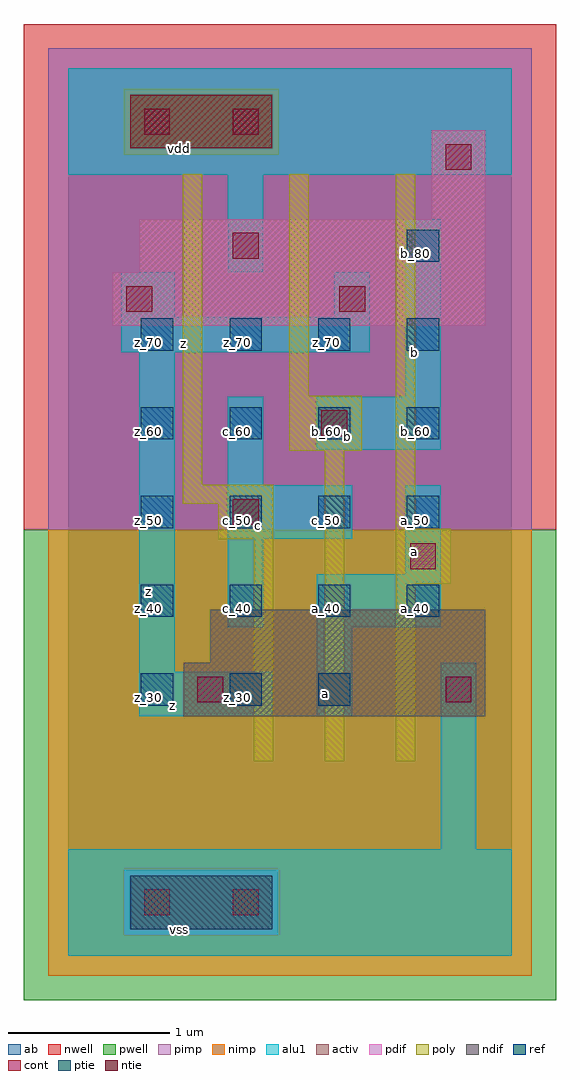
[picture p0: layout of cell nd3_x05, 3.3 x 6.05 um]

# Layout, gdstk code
import gdstk
lib = gdstk.Library(unit=1e-6, precision=2.5e-09)
def R(c, l, rs):  # rectangles x0, y0, x1, y1
    for r in rs: c.add(gdstk.rectangle(r[:2], r[2:], *l))
def A(c, l, x, y, w, h, nx, ny, dx, dy):  # array of equal rectangles
    R(c, l, [(x+i*dx, y+j*dy, x+i*dx+w, y+j*dy+h) for i in range(nx) for j in range(ny)])
ndif = (3, 0)
pdif = (4, 0)
ntie = (5, 0)
ptie = (6, 0)
ref = (24, 0)
cont = (25, 0)
pwell = (41, 0)
nwell = (42, 0)
activ = (43, 0)
pimp = (44, 0)
nimp = (45, 0)
poly = (46, 0)
alu1 = (49, 0)
ab = (63, 0)

nd3_x05 = lib.new_cell('nd3_x05')
R(nd3_x05, ndif, [(0.715,1.485,2.585,1.815), (0.88,1.815,2.585,2.145)])
R(nd3_x05, pdif, [(0.275,3.905,2.585,4.235), (0.44,4.235,2.585,4.565), (2.255,4.565,2.585,5.115)])
R(nd3_x05, ntie, [(0.385,5.005,1.265,5.335)])
R(nd3_x05, ptie, [(0.385,0.165,1.265,0.495)])
A(nd3_x05, ref, 0.45, 1.55, 0.2, 0.2, 3, 1, 0.55, 0)
A(nd3_x05, ref, 0.45, 2.1, 0.2, 0.2, 4, 4, 0.55, 0.55)
R(nd3_x05, ref, [(2.1,4.3,2.3,4.5)])
R(nd3_x05, cont, [(0.47,0.25,0.63,0.41), (1.02,0.25,1.18,0.41), (0.8,1.57,0.96,1.73), (2.34,1.57,2.5,1.73), (2.12,2.395,2.28,2.555), (1.02,2.67,1.18,2.83), (1.57,3.22,1.73,3.38), (0.36,3.99,0.52,4.15), (1.68,3.99,1.84,4.15), (1.02,4.32,1.18,4.48), (2.34,4.87,2.5,5.03), (0.47,5.09,0.63,5.25), (1.02,5.09,1.18,5.25)])
R(nd3_x05, pwell, [(-0.275,-0.275,3.025,2.64)])
R(nd3_x05, nwell, [(-0.275,2.64,3.025,5.775)])
R(nd3_x05, activ, [(0.385,0.165,1.265,0.495), (0.715,1.485,2.585,1.815), (0.88,1.815,2.585,2.145), (0.275,3.905,2.585,4.235), (0.44,4.235,2.585,4.565), (2.255,4.565,2.585,5.115), (0.385,5.005,1.265,5.335)])
R(nd3_x05, pimp, [(0.345,0.125,1.305,0.535), (-0.125,2.64,2.875,4.965), (-0.125,4.965,0.345,5.375), (1.305,4.965,2.875,5.375), (-0.125,5.375,2.875,5.625)])
R(nd3_x05, nimp, [(-0.125,-0.125,2.875,0.125), (-0.125,0.125,0.345,0.535), (1.305,0.125,2.875,0.535), (-0.125,0.535,2.875,2.64), (0.345,4.965,1.305,5.375)])
R(nd3_x05, poly, [(1.15,1.205,1.27,2.58), (1.59,1.205,1.71,3.13), (2.03,1.205,2.15,2.305), (2.03,2.305,2.37,2.645), (0.93,2.58,1.27,2.8), (2.03,2.645,2.15,4.845), (0.71,2.8,1.27,2.92), (0.71,2.92,0.83,4.845), (1.37,3.13,1.82,3.47), (1.37,3.47,1.49,4.845)])
R(nd3_x05, alu1, [(0,0,2.75,0.66), (2.31,0.66,2.53,1.815), (0.44,1.485,1.265,1.76), (1.54,1.485,1.76,2.035), (0.44,1.76,0.66,3.74), (0.99,2.035,1.21,2.585), (1.54,2.035,2.31,2.365), (2.09,2.365,2.31,2.915), (0.99,2.585,1.76,2.915), (0.99,2.915,1.21,3.465), (1.54,3.135,2.31,3.465), (2.09,3.465,2.31,4.565), (0.33,3.74,1.87,3.96), (0.33,3.96,0.66,4.235), (1.65,3.96,1.87,4.235), (0.99,4.235,1.21,4.84), (0,4.84,2.75,5.5)])
R(nd3_x05, ab, [(0,0,2.75,5.5)])
nd3_x05.add(gdstk.Label('vss', (0.6875,0.165), layer=49, texttype=0))
nd3_x05.add(gdstk.Label('a', (1.595,1.6225), layer=49, texttype=0))
nd3_x05.add(gdstk.Label('z', (0.645,1.5525), layer=49, texttype=0))
nd3_x05.add(gdstk.Label('a', (2.145,2.5025), layer=49, texttype=0))
nd3_x05.add(gdstk.Label('c', (1.1825,2.6675), layer=49, texttype=0))
nd3_x05.add(gdstk.Label('b', (1.7325,3.2175), layer=49, texttype=0))
nd3_x05.add(gdstk.Label('b', (2.145,3.74), layer=49, texttype=0))
nd3_x05.add(gdstk.Label('z', (0.495,2.255), layer=49, texttype=0))
nd3_x05.add(gdstk.Label('z', (0.715,3.795), layer=49, texttype=0))
nd3_x05.add(gdstk.Label('vdd', (0.6875,5.005), layer=49, texttype=0))
nd3_x05.add(gdstk.Label('b_80', (2.15,4.35), layer=24, texttype=0))
nd3_x05.add(gdstk.Label('c_40', (1.05,2.15), layer=24, texttype=0))
nd3_x05.add(gdstk.Label('a_30', (1.6,1.6), layer=24, texttype=0))
nd3_x05.add(gdstk.Label('a_40', (2.15,2.15), layer=24, texttype=0))
nd3_x05.add(gdstk.Label('b_70', (2.15,3.8), layer=24, texttype=0))
nd3_x05.add(gdstk.Label('z_40', (0.5,2.15), layer=24, texttype=0))
nd3_x05.add(gdstk.Label('z_50', (0.5,2.7), layer=24, texttype=0))
nd3_x05.add(gdstk.Label('z_60', (0.5,3.25), layer=24, texttype=0))
nd3_x05.add(gdstk.Label('z_70', (0.5,3.8), layer=24, texttype=0))
nd3_x05.add(gdstk.Label('b_60', (1.6,3.25), layer=24, texttype=0))
nd3_x05.add(gdstk.Label('a_50', (2.15,2.7), layer=24, texttype=0))
nd3_x05.add(gdstk.Label('c_50', (1.05,2.7), layer=24, texttype=0))
nd3_x05.add(gdstk.Label('z_70', (1.05,3.8), layer=24, texttype=0))
nd3_x05.add(gdstk.Label('z_70', (1.6,3.8), layer=24, texttype=0))
nd3_x05.add(gdstk.Label('b_60', (2.15,3.25), layer=24, texttype=0))
nd3_x05.add(gdstk.Label('c_60', (1.05,3.25), layer=24, texttype=0))
nd3_x05.add(gdstk.Label('z_30', (0.5,1.6), layer=24, texttype=0))
nd3_x05.add(gdstk.Label('c_50', (1.6,2.7), layer=24, texttype=0))
nd3_x05.add(gdstk.Label('a_40', (1.6,2.15), layer=24, texttype=0))
nd3_x05.add(gdstk.Label('z_30', (1.05,1.6), layer=24, texttype=0))

lib.write_gds('nd3_x05.gds')
